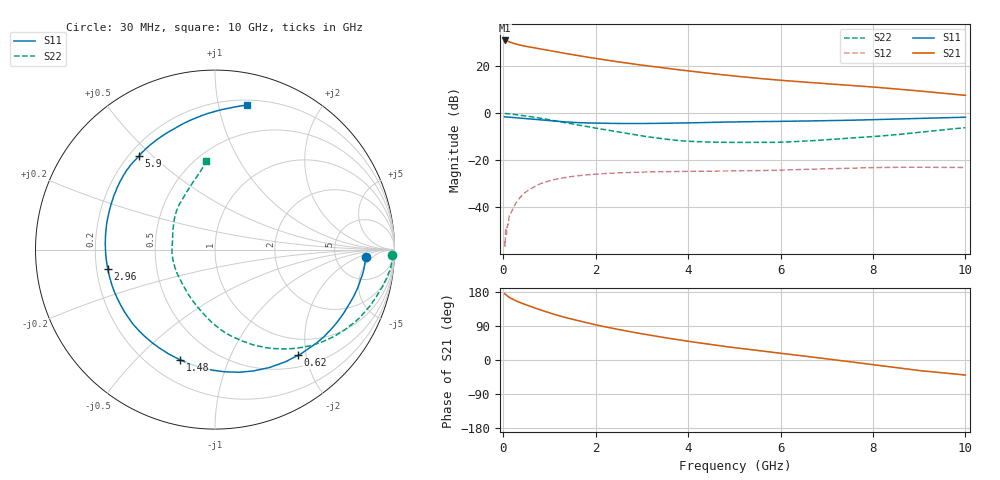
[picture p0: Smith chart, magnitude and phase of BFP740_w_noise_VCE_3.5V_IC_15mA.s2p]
! Infineon Technologies  Discrete & RF Semiconductors
! BFP740
! VCE =  3.5 V,  IC =  15 mA
! Common Emitter S-Parameters:  Jan 2016
# GHz  S  MA  R  50
!  f  S11  S21  S12  S22
! GHz  MAG  ANG  MAG  ANG  MAG  ANG  MAG  ANG
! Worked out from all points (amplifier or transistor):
!   229 points, 30 MHz to 10 GHz, reference 50 ohm
!   highest |S21| = 31.0 dB at 30 MHz (marker M1)
!   |S21| within 3 dB of that: start of sweep to 633 MHz
!   unconditionally stable (mu >= 1): 6.766 GHz to end of sweep
!   at 280 MHz: K = 0.21, MSG = 33.7 dB, |S12| = -38.0 dB
!   at 1.78 GHz: K = 0.39, MSG = 25.1 dB, |S12| = -26.2 dB
!   at 10 GHz: K = 1.04, MAG = 14.2 dB, |S12| = -23.0 dB
!   lowest NFmin = 0.59 dB at 450 MHz
!   S11 on the Smith chart (normalised r, x): 30 MHz: 11, -3; 620 MHz: 0.69, -1.85; 1.48 GHz: 0.32, -0.68; 2.96 GHz: 0.25, -0.08; 5.9 GHz: 0.24, +0.45; 10 GHz: 0.24, +1.22
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0.03  0.8414 -2.7  35.36 175.4  0.0019 88.8  0.9888 -1.6
0.05  0.8392 -4.9  35.24 173.4  0.0032 59.3  0.9898 -3.2
0.065  0.8377 -6.2  34.88 171.5  0.003 78.2  0.9871 -4.1
0.12  0.8281 -11.5  33.46 166.2  0.0056 87.1  0.9762 -7.6
0.22  0.8117 -20.1  30.82 159.2  0.0099 78.4  0.9514 -13.2
0.36  0.7898 -31.6  28.22 151.8  0.016 72.2  0.9163 -20.4
0.62  0.7489 -51.9  25.17 140.1  0.0257 62.9  0.8446 -32.5
0.8  0.7237 -65.2  23.41 132.4  0.0317 56.3  0.7913 -40.3
1.02  0.6929 -80.2  21.4 123.7  0.0372 49.3  0.7237 -49.0
1.26  0.6641 -95.0  19.37 115.0  0.042 42.8  0.6542 -57.6
1.48  0.6439 -107.5  17.77 107.9  0.0453 38.1  0.5982 -64.7
1.7  0.6304 -119.1  16.36 101.2  0.048 34.0  0.547 -71.2
1.98  0.62 -132.3  14.78 93.5  0.0506 29.2  0.4891 -79.5
2.28  0.6118 -145.2  13.3 85.6  0.053 24.6  0.4357 -87.7
2.96  0.6069 -169.8  10.71 70.1  0.056 17.2  0.3362 -106.3
3.4  0.6123 176.6  9.411 61.0  0.0576 13.1  0.2921 -120.1
4.1  0.6288 158.4  7.773 47.6  0.0588 8.2  0.2513 -144.1
5.1  0.6585 139.5  6.069 31.0  0.0598 3.4  0.2406 -172.9
5.9  0.6724 129.1  5.132 19.3  0.0616 0.9  0.2416 168.7
6.8  0.6923 118.1  4.395 6.2  0.0654 -2.6  0.2659 150.5
8.4  0.7519 95.2  3.366 -18.6  0.071 -12.2  0.3439 120.0
10  0.826 77.4  2.41 -39.7  0.0705 -20.5  0.4949 95.7
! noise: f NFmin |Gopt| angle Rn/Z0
0.45  0.59  0.08  4  0.17
0.9  0.6  0.07  10  0.17
1.5  0.62  0.07  23  0.16
1.9  0.64  0.07  39  0.16
2.4  0.67  0.07  47  0.15
3.5  0.78  0.06  54  0.14
5.5  0.94  0.15  229  0.13
10  1.33  0.49  -69  0.17
